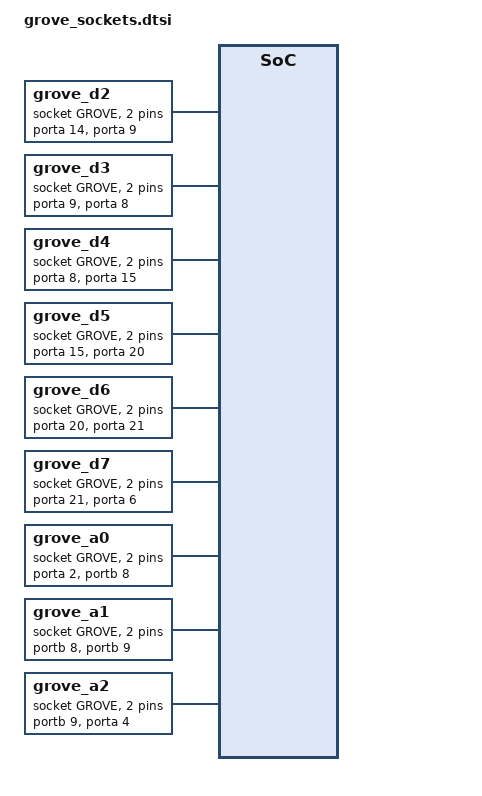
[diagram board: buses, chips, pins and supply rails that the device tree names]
/*
 * Board-DT fragment: Seeeduino Lotus typed "socket,grove" nodes.
 *
 * Included from seeeduino_lotus.dts at the END of that file, after every
 * label and override it defines: these nine sockets target &tcc0, &tcc1
 * and &adc, and the board .dts itself overrides all three (status,
 * compatible, pinctrl) -- the include only works once those overrides
 * already exist.
 *
 * Strictly additive: the board's own legacy arduino_header /
 * grove_*_connector nexus nodes (grove_d2_connector.dtsi and its seven
 * siblings, grove_i2c_connector.dtsi, grove_uart_connector.dtsi,
 * arduino_r3_connector.dtsi) stay untouched. These nine "socket,grove"
 * nodes are a second, typed description layered alongside them, not a
 * replacement -- the other eight Grove-capable boards and the five
 * shield-side Grove providers in this tree are unaffected by this file.
 *
 * Pin mapping (which SoC pin each position reaches) is a real bridle
 * fact, including the daisy-lacing (SIG1 of one connector == SIG0 of the
 * next) and D2/D4 sharing TCC0 channel 0.
 *
 * adc0: is an ADDITIVE second label on the SoC's existing &adc node -- the
 * sockets below need a stable "adc0" name for their io-channel-map
 * targets, but the real SAMD21 dtsi (dts/arm/atmel/samd2x.dtsi) labels the
 * controller "adc" (singular, no instance number -- SAMD21 has exactly
 * one ADC). `adc0: &adc {};` is the standard Zephyr idiom for attaching an
 * extra label to an existing node (e.g. `zephyr_udc0: &usb0 { ... };` in
 * this board's own seeeduino_lotus.dts) -- it does not redefine or move
 * anything.
 *
 * Standard-named `pwm-map` / `io-channel-map` nexuses below (on the
 * sockets that carry PWM/ADC-capable positions) let a devicetree reader
 * resolve position -> controller+channel routing natively (same mechanism
 * as `gpio-map` above): the STANDARD names strip to "pwm" / "io-channel",
 * which demand "#pwm-cells" / "#io-channel-cells" -- properties &tcc0/
 * &tcc1 (this board's .dts override) and &adc (dts/arm/atmel/samd2x.dtsi)
 * already declare for their own consumer-facing PWM/ADC roles. So the
 * target side needs no invented decoration; only the socket itself must
 * additionally declare its own "#pwm-cells"/"#io-channel-cells" (the
 * child/consumer-facing spec), same as gpio-map already requires
 * "#gpio-cells" here. rigc reads these maps the standard way, via
 * `edtlib.Node.maps()`, when resolving a rig instance's socket placement.
 */

#include <dt-bindings/connector/grove.h>

adc0: &adc {};

/ {
	/* Digital Grove sockets. D2/D4 both reach TCC0 channel 0 (real bridle
	 * fact, per bridle's GROVE_PWM_D2/D4_PINCTRL in its upstream
	 * grove_d2/d4_connector.dtsi). #pwm-cells = <2> (channel + period,
	 * matching &tcc0/&tcc1's own atmel,sam0-tcc-pwm override in the board
	 * .dts); pwm-map-mask fully matches the position cell and ignores/
	 * passes through the second child cell (period is a target-side fact,
	 * not a match key).
	 */
	grove_d2: connector_grove_d2 {
		compatible = "socket,grove";
		#gpio-cells = <2>;
		gpio-map-mask = <0xffffffff 0xffffffc0>;
		gpio-map-pass-thru = <0 0x3f>;
		gpio-map = <GROVE_SIG0 0 &porta 14 0>, <GROVE_SIG1 0 &porta 9 0>;

		#pwm-cells = <2>;
		pwm-map-mask = <0xffffffff 0x00000000>;
		pwm-map-pass-thru = <0x00000000 0xffffffff>;
		pwm-map = <GROVE_SIG0 0 &tcc0 0 0>, <GROVE_SIG1 0 &tcc0 1 0>;
	};
	grove_d3: connector_grove_d3 {
		compatible = "socket,grove";
		#gpio-cells = <2>;
		gpio-map-mask = <0xffffffff 0xffffffc0>;
		gpio-map-pass-thru = <0 0x3f>;
		gpio-map = <GROVE_SIG0 0 &porta 9 0>, <GROVE_SIG1 0 &porta 8 0>;

		#pwm-cells = <2>;
		pwm-map-mask = <0xffffffff 0x00000000>;
		pwm-map-pass-thru = <0x00000000 0xffffffff>;
		pwm-map = <GROVE_SIG0 0 &tcc0 1 0>, <GROVE_SIG1 0 &tcc0 0 0>;
	};
	grove_d4: connector_grove_d4 {
		compatible = "socket,grove";
		#gpio-cells = <2>;
		gpio-map-mask = <0xffffffff 0xffffffc0>;
		gpio-map-pass-thru = <0 0x3f>;
		gpio-map = <GROVE_SIG0 0 &porta 8 0>, <GROVE_SIG1 0 &porta 15 0>;

		/* Real bridle fact -- D2 and D4 share TCC0 ch0. */
		#pwm-cells = <2>;
		pwm-map-mask = <0xffffffff 0x00000000>;
		pwm-map-pass-thru = <0x00000000 0xffffffff>;
		pwm-map = <GROVE_SIG0 0 &tcc0 0 0>, <GROVE_SIG1 0 &tcc0 1 0>;
	};
	grove_d5: connector_grove_d5 {
		compatible = "socket,grove";
		#gpio-cells = <2>;
		gpio-map-mask = <0xffffffff 0xffffffc0>;
		gpio-map-pass-thru = <0 0x3f>;
		gpio-map = <GROVE_SIG0 0 &porta 15 0>, <GROVE_SIG1 0 &porta 20 0>;
	};
	grove_d6: connector_grove_d6 {
		compatible = "socket,grove";
		#gpio-cells = <2>;
		gpio-map-mask = <0xffffffff 0xffffffc0>;
		gpio-map-pass-thru = <0 0x3f>;
		gpio-map = <GROVE_SIG0 0 &porta 20 0>, <GROVE_SIG1 0 &porta 21 0>;
	};
	grove_d7: connector_grove_d7 {
		compatible = "socket,grove";
		#gpio-cells = <2>;
		gpio-map-mask = <0xffffffff 0xffffffc0>;
		gpio-map-pass-thru = <0 0x3f>;
		gpio-map = <GROVE_SIG0 0 &porta 21 0>, <GROVE_SIG1 0 &porta 6 0>;
	};

	/* Analog Grove sockets. io-channel-map nexus, position -> (adc0,
	 * channel). #io-channel-cells = <1> matches &adc's own
	 * "#io-channel-cells" (one cell: channel only, no flags), so the map
	 * row's child spec is fully resolved by the matched entry -- no
	 * pass-thru bits needed (mask fully covers the position cell).
	 */
	grove_a0: connector_grove_a0 {
		compatible = "socket,grove";
		#gpio-cells = <2>;
		gpio-map-mask = <0xffffffff 0xffffffc0>;
		gpio-map-pass-thru = <0 0x3f>;
		gpio-map = <GROVE_SIG0 0 &porta 2 0>, <GROVE_SIG1 0 &portb 8 0>;

		#io-channel-cells = <1>;
		io-channel-map-mask = <0xffffffff>;
		io-channel-map-pass-thru = <0x00000000>;
		io-channel-map = <GROVE_SIG0 &adc0 0>, <GROVE_SIG1 &adc0 1>;
	};
	grove_a1: connector_grove_a1 {
		compatible = "socket,grove";
		#gpio-cells = <2>;
		gpio-map-mask = <0xffffffff 0xffffffc0>;
		gpio-map-pass-thru = <0 0x3f>;
		gpio-map = <GROVE_SIG0 0 &portb 8 0>, <GROVE_SIG1 0 &portb 9 0>;

		#io-channel-cells = <1>;
		io-channel-map-mask = <0xffffffff>;
		io-channel-map-pass-thru = <0x00000000>;
		io-channel-map = <GROVE_SIG0 &adc0 1>, <GROVE_SIG1 &adc0 2>;
	};
	grove_a2: connector_grove_a2 {
		compatible = "socket,grove";
		#gpio-cells = <2>;
		gpio-map-mask = <0xffffffff 0xffffffc0>;
		gpio-map-pass-thru = <0 0x3f>;
		gpio-map = <GROVE_SIG0 0 &portb 9 0>, <GROVE_SIG1 0 &porta 4 0>;
	};
};
